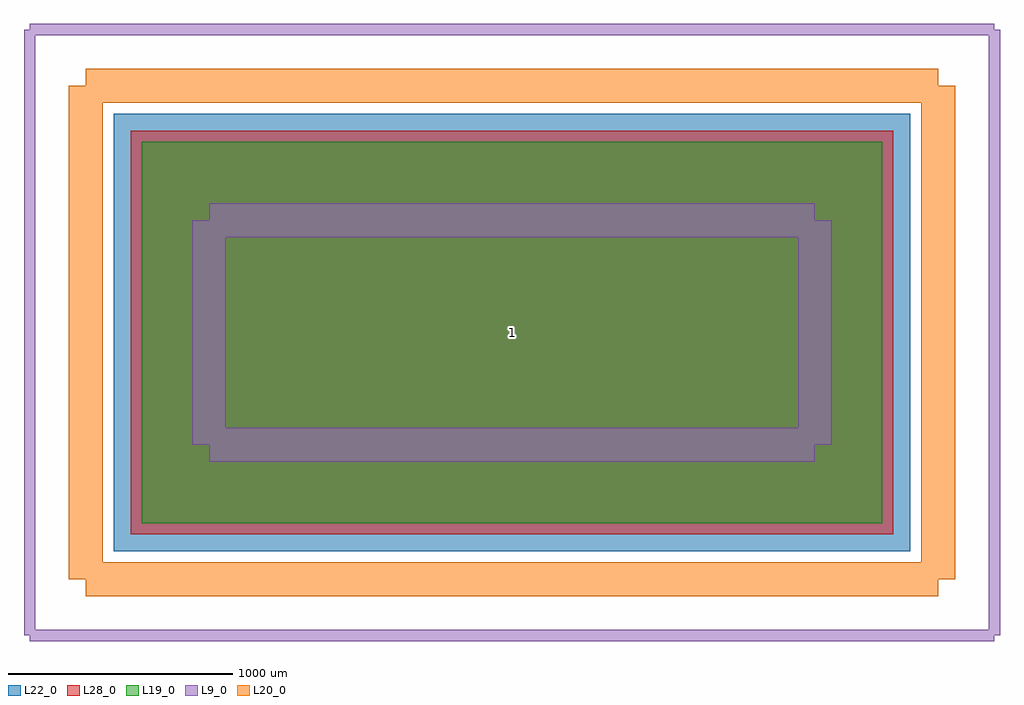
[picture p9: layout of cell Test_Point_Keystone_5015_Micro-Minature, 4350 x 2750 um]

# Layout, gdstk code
import gdstk
lib = gdstk.Library(unit=1e-6, precision=1e-09)
def R(c, l, rs):  # rectangles x0, y0, x1, y1
    for r in rs: c.add(gdstk.rectangle(r[:2], r[2:], *l))
L9_0 = (9, 0)
L19_0 = (19, 0)
L20_0 = (20, 0)
L22_0 = (22, 0)
L28_0 = (28, 0)

test_point_keystone_5015 = lib.new_cell('Test_Point_Keystone_5015_Micro-Minature')
R(test_point_keystone_5015, L19_0, [(-1650,-850,1650,850)])
R(test_point_keystone_5015, L22_0, [(-1775,-975,1775,975)])
R(test_point_keystone_5015, L28_0, [(-1700,-900,1700,900)])
test_point_keystone_5015.add(gdstk.FlexPath([(-1350,-500),(-1350,500)], 149.998, ends="flush", simple_path=True, layer=9, datatype=0))  # L9_0
test_point_keystone_5015.add(gdstk.FlexPath([(1350,500),(-1350,500)], 149.998, ends="flush", simple_path=True, layer=9, datatype=0))  # L9_0
test_point_keystone_5015.add(gdstk.FlexPath([(1350,500),(1350,-500)], 149.998, ends="flush", simple_path=True, layer=9, datatype=0))  # L9_0
test_point_keystone_5015.add(gdstk.FlexPath([(-1350,-500),(1350,-500)], 149.998, ends="flush", simple_path=True, layer=9, datatype=0))  # L9_0
test_point_keystone_5015.add(gdstk.FlexPath([(-1900,-1100),(-1900,1100)], 149.998, ends="flush", simple_path=True, layer=20, datatype=0))  # L20_0
test_point_keystone_5015.add(gdstk.FlexPath([(1900,-1100),(-1900,-1100)], 149.998, ends="flush", simple_path=True, layer=20, datatype=0))  # L20_0
test_point_keystone_5015.add(gdstk.FlexPath([(1900,1100),(1900,-1100)], 149.998, ends="flush", simple_path=True, layer=20, datatype=0))  # L20_0
test_point_keystone_5015.add(gdstk.FlexPath([(-1900,1100),(1900,1100)], 149.998, ends="flush", simple_path=True, layer=20, datatype=0))  # L20_0
test_point_keystone_5015.add(gdstk.FlexPath([(-2150,-1350),(-2150,1350)], 50, ends="flush", simple_path=True, layer=9, datatype=0))  # L9_0
test_point_keystone_5015.add(gdstk.FlexPath([(2150,-1350),(-2150,-1350)], 50, ends="flush", simple_path=True, layer=9, datatype=0))  # L9_0
test_point_keystone_5015.add(gdstk.FlexPath([(2150,1350),(2150,-1350)], 50, ends="flush", simple_path=True, layer=9, datatype=0))  # L9_0
test_point_keystone_5015.add(gdstk.FlexPath([(-2150,1350),(2150,1350)], 50, ends="flush", simple_path=True, layer=9, datatype=0))  # L9_0
test_point_keystone_5015.add(gdstk.Label('1', (0,0), layer=28, texttype=0))
test_point_keystone_5015.add(gdstk.Label('type', (0,-2250), layer=9, texttype=0))
test_point_keystone_5015.add(gdstk.Label('devicename', (0,2250), layer=9, texttype=0))

lib.write_gds('Test_Point_Keystone_5015_Micro-Minature.gds')
